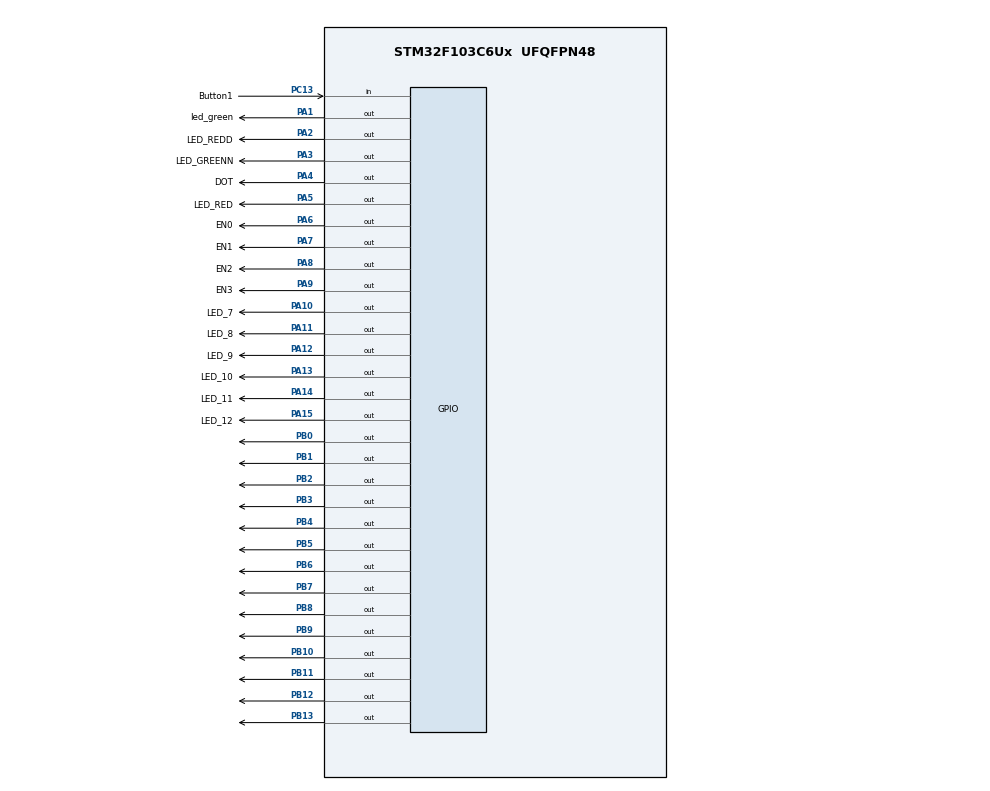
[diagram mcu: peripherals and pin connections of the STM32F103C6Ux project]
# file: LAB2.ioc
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Mcu.Family=STM32F1
Mcu.Name=STM32F103C6Ux
Mcu.Package=UFQFPN48
NVIC.PriorityGroup=NVIC_PRIORITYGROUP_4
NVIC.TIM2_IRQn=true\:0\:0\:false\:false\:true\:true\:true
PA1.GPIO_Label=led_green
PA1.Signal=GPIO_Output
PA10.GPIO_Label=LED_7
PA10.Signal=GPIO_Output
PA11.GPIO_Label=LED_8
PA11.Signal=GPIO_Output
PA12.GPIO_Label=LED_9
PA12.Signal=GPIO_Output
PA13.GPIO_Label=LED_10
PA13.Signal=GPIO_Output
PA14.GPIO_Label=LED_11
PA14.Signal=GPIO_Output
PA15.GPIO_Label=LED_12
PA15.Signal=GPIO_Output
PA2.GPIO_Label=LED_REDD
PA2.Signal=GPIO_Output
PA3.GPIO_Label=LED_GREENN
PA3.Signal=GPIO_Output
PA4.GPIO_Label=DOT
PA4.Signal=GPIO_Output
PA5.GPIO_Label=LED_RED
PA5.Signal=GPIO_Output
PA6.GPIO_Label=EN0
PA6.Signal=GPIO_Output
PA7.GPIO_Label=EN1
PA7.Signal=GPIO_Output
PA8.GPIO_Label=EN2
PA8.Signal=GPIO_Output
PA9.GPIO_Label=EN3
PA9.Signal=GPIO_Output
PB0.Signal=GPIO_Output
PB1.Signal=GPIO_Output
PB10.Signal=GPIO_Output
PB11.Signal=GPIO_Output
PB12.Signal=GPIO_Output
PB13.Signal=GPIO_Output
PB2.Signal=GPIO_Output
PB3.Signal=GPIO_Output
PB4.Signal=GPIO_Output
PB5.Signal=GPIO_Output
PB6.Signal=GPIO_Output
PB7.Signal=GPIO_Output
PB8.Signal=GPIO_Output
PB9.Signal=GPIO_Output
PC13-TAMPER-RTC.GPIO_Label=Button1
PC13-TAMPER-RTC.GPIO_PuPd=GPIO_PULLUP
PC13-TAMPER-RTC.Signal=GPIO_Input
ProjectManager.HeapSize=0x200
ProjectManager.StackSize=0x400
ProjectManager.TargetToolchain=STM32CubeIDE
RCC.APB1Freq_Value=8000000
RCC.APB2Freq_Value=8000000
TIM2.Period=9
TIM2.Prescaler=7999
VP_SYS_VS_ND.Mode=No_Debug
VP_TIM2_VS_ClockSourceINT.Mode=Internal
board=custom

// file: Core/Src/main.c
/* USER CODE BEGIN Header */
/**
 ******************************************************************************
 * @file           : main.c
 * @brief          : Main program body
 ******************************************************************************
 * @attention
 *
 * <h2><center>&copy; Copyright (c) 2022 STMicroelectronics.
 * All rights reserved.</center></h2>
 *
 * This software component is licensed by ST under BSD 3-Clause license,
 * the "License"; You may not use this file except in compliance with the
 * License. You may obtain a copy of the License at:
 *                        opensource.org/licenses/BSD-3-Clause
 *
 ******************************************************************************
 */
/* USER CODE END Header */
#include "main.h"

/* USER CODE BEGIN Includes */
#include "SOFTWARE_TIMER.h"
#include "BUTTON.h"
#include "display7SEG.h"
#include "update7SEG.h"

/* USER CODE END Includes */

TIM_HandleTypeDef htim2;

void SystemClock_Config(void);
static void MX_GPIO_Init(void);
static void MX_TIM2_Init(void);

/* USER CODE BEGIN 0 */
int hour = 15 , minute = 8 , second = 54;
int counter = 50 ;
index_led=0;
void HAL_TIM_PeriodElapsedCallback ( TIM_HandleTypeDef * htim ){
	timerRun();

}
void UpdateClockBuffer(){
	led_buffer[0] = minute / 10;
	led_buffer[1] = minute % 10;
	led_buffer[2] = second / 10;
	led_buffer[3] = second % 10;
}
/* USER CODE END 0 */

int main(void)
{

  /* MCU Configuration--------------------------------------------------------*/

  /* Reset of all peripherals, Initializes the Flash interface and the Systick. */
  HAL_Init();

  /* Configure the system clock */
  SystemClock_Config();

  /* Initialize all configured peripherals */
  MX_GPIO_Init();
  MX_TIM2_Init();
  /* USER CODE BEGIN 2 */
	HAL_TIM_Base_Start_IT (& htim2 ) ;
  /* USER CODE END 2 */

  /* Infinite loop */
  /* USER CODE BEGIN WHILE */

	setTimer0(100);
	setTimer1(25);
	while (1)
    /* USER CODE END WHILE */
	{
		UpdateClockBuffer();
		 if(timer0_flag == 1){
				  setTimer0(100);
				  second++;
				  if(second >= 60){
					  second = 0;
					  minute++;
				  }
				  if(minute >= 60){
					  minute = 0;
					  hour++;
				  }
				  if(hour > 24){
					  hour = 0;
				  }

				  HAL_GPIO_TogglePin(DOT_GPIO_Port, DOT_Pin);
			  }
		 if(timer1_flag == 1){
			  setTimer1(25);
			if(index_led>=4) index_led=0;
				update7SEG(index_led++);
					  }

		}

  /* USER CODE END 3 */
}

void SystemClock_Config(void)
{
  RCC_OscInitTypeDef RCC_OscInitStruct = {0};
  RCC_ClkInitTypeDef RCC_ClkInitStruct = {0};

  /** Initializes the RCC Oscillators according to the specified parameters
  * in the RCC_OscInitTypeDef structure.
  */
  RCC_OscInitStruct.OscillatorType = RCC_OSCILLATORTYPE_HSI;
  RCC_OscInitStruct.HSIState = RCC_HSI_ON;
  RCC_OscInitStruct.HSICalibrationValue = RCC_HSICALIBRATION_DEFAULT;
  RCC_OscInitStruct.PLL.PLLState = RCC_PLL_NONE;
  if (HAL_RCC_OscConfig(&RCC_OscInitStruct) != HAL_OK)
  {
    Error_Handler();
  }
  /** Initializes the CPU, AHB and APB buses clocks
  */
  RCC_ClkInitStruct.ClockType = RCC_CLOCKTYPE_HCLK|RCC_CLOCKTYPE_SYSCLK
                              |RCC_CLOCKTYPE_PCLK1|RCC_CLOCKTYPE_PCLK2;
  RCC_ClkInitStruct.SYSCLKSource = RCC_SYSCLKSOURCE_HSI;
  RCC_ClkInitStruct.AHBCLKDivider = RCC_SYSCLK_DIV1;
  RCC_ClkInitStruct.APB1CLKDivider = RCC_HCLK_DIV1;
  RCC_ClkInitStruct.APB2CLKDivider = RCC_HCLK_DIV1;

  if (HAL_RCC_ClockConfig(&RCC_ClkInitStruct, FLASH_LATENCY_0) != HAL_OK)
  {
    Error_Handler();
  }
}

static void MX_TIM2_Init(void)
{

  TIM_ClockConfigTypeDef sClockSourceConfig = {0};
  TIM_MasterConfigTypeDef sMasterConfig = {0};

  htim2.Instance = TIM2;
  htim2.Init.Prescaler = 7999;
  htim2.Init.CounterMode = TIM_COUNTERMODE_UP;
  htim2.Init.Period = 9;
  htim2.Init.ClockDivision = TIM_CLOCKDIVISION_DIV1;
  htim2.Init.AutoReloadPreload = TIM_AUTORELOAD_PRELOAD_DISABLE;
  if (HAL_TIM_Base_Init(&htim2) != HAL_OK)
  {
    Error_Handler();
  }
  sClockSourceConfig.ClockSource = TIM_CLOCKSOURCE_INTERNAL;
  if (HAL_TIM_ConfigClockSource(&htim2, &sClockSourceConfig) != HAL_OK)
  {
    Error_Handler();
  }
  sMasterConfig.MasterOutputTrigger = TIM_TRGO_RESET;
  sMasterConfig.MasterSlaveMode = TIM_MASTERSLAVEMODE_DISABLE;
  if (HAL_TIMEx_MasterConfigSynchronization(&htim2, &sMasterConfig) != HAL_OK)
  {
    Error_Handler();
  }

}

static void MX_GPIO_Init(void)
{
  GPIO_InitTypeDef GPIO_InitStruct = {0};

  /* GPIO Ports Clock Enable */
  __HAL_RCC_GPIOC_CLK_ENABLE();
  __HAL_RCC_GPIOA_CLK_ENABLE();
  __HAL_RCC_GPIOB_CLK_ENABLE();

  /*Configure GPIO pin Output Level */
  HAL_GPIO_WritePin(GPIOA, led_green_Pin|LED_REDD_Pin|LED_GREENN_Pin|DOT_Pin
                          |LED_RED_Pin|EN0_Pin|EN1_Pin|EN2_Pin
                          |EN3_Pin|LED_7_Pin|LED_8_Pin|LED_9_Pin
                          |LED_10_Pin|LED_11_Pin|LED_12_Pin, GPIO_PIN_RESET);

  /*Configure GPIO pin Output Level */
  HAL_GPIO_WritePin(GPIOB, GPIO_PIN_0|GPIO_PIN_1|GPIO_PIN_2|GPIO_PIN_10
                          |GPIO_PIN_11|GPIO_PIN_12|GPIO_PIN_13|GPIO_PIN_3
                          |GPIO_PIN_4|GPIO_PIN_5|GPIO_PIN_6|GPIO_PIN_7
                          |GPIO_PIN_8|GPIO_PIN_9, GPIO_PIN_RESET);

  /*Configure GPIO pin : Button1_Pin */
  GPIO_InitStruct.Pin = Button1_Pin;
  GPIO_InitStruct.Mode = GPIO_MODE_INPUT;
  GPIO_InitStruct.Pull = GPIO_PULLUP;
  HAL_GPIO_Init(Button1_GPIO_Port, &GPIO_InitStruct);

  /*Configure GPIO pins : led_green_Pin LED_REDD_Pin LED_GREENN_Pin DOT_Pin
                           LED_RED_Pin EN0_Pin EN1_Pin EN2_Pin
                           EN3_Pin LED_7_Pin LED_8_Pin LED_9_Pin
                           LED_10_Pin LED_11_Pin LED_12_Pin */
  GPIO_InitStruct.Pin = led_green_Pin|LED_REDD_Pin|LED_GREENN_Pin|DOT_Pin
                          |LED_RED_Pin|EN0_Pin|EN1_Pin|EN2_Pin
                          |EN3_Pin|LED_7_Pin|LED_8_Pin|LED_9_Pin
                          |LED_10_Pin|LED_11_Pin|LED_12_Pin;
  GPIO_InitStruct.Mode = GPIO_MODE_OUTPUT_PP;
  GPIO_InitStruct.Pull = GPIO_NOPULL;
  GPIO_InitStruct.Speed = GPIO_SPEED_FREQ_LOW;
  HAL_GPIO_Init(GPIOA, &GPIO_InitStruct);

  /*Configure GPIO pins : PB0 PB1 PB2 PB10
                           PB11 PB12 PB13 PB3
                           PB4 PB5 PB6 PB7
                           PB8 PB9 */
  GPIO_InitStruct.Pin = GPIO_PIN_0|GPIO_PIN_1|GPIO_PIN_2|GPIO_PIN_10
                          |GPIO_PIN_11|GPIO_PIN_12|GPIO_PIN_13|GPIO_PIN_3
                          |GPIO_PIN_4|GPIO_PIN_5|GPIO_PIN_6|GPIO_PIN_7
                          |GPIO_PIN_8|GPIO_PIN_9;
  GPIO_InitStruct.Mode = GPIO_MODE_OUTPUT_PP;
  GPIO_InitStruct.Pull = GPIO_NOPULL;
  GPIO_InitStruct.Speed = GPIO_SPEED_FREQ_LOW;
  HAL_GPIO_Init(GPIOB, &GPIO_InitStruct);

}

void Error_Handler(void)
{
		__disable_irq();
		while (1) {
		}
}

/************************ (C) COPYRIGHT STMicroelectronics *****END OF FILE****/
